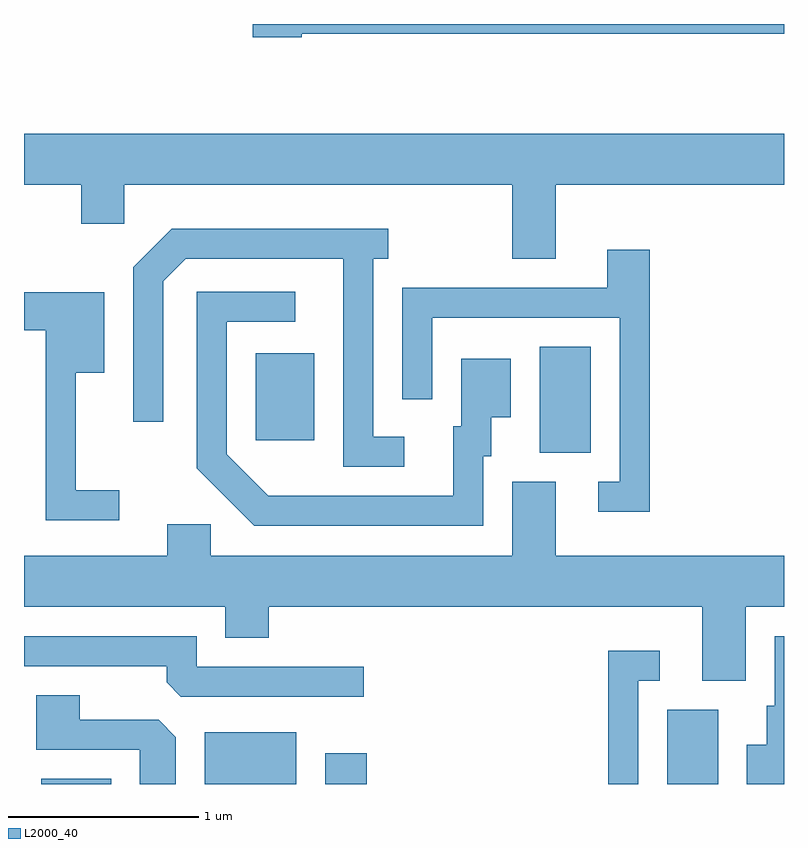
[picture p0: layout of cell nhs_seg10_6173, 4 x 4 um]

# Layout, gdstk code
import gdstk
lib = gdstk.Library(unit=1e-6, precision=1e-09)
def R(c, l, rs):  # rectangles x0, y0, x1, y1
    for r in rs: c.add(gdstk.rectangle(r[:2], r[2:], *l))
def P(c, l, *ps):  # polygons
    for p in ps: c.add(gdstk.Polygon(p, *l))
L2000_40 = (2000, 40)

nhs_seg10_6173 = lib.new_cell('nhs_seg10_6173')
R(nhs_seg10_6173, L2000_40, [(367.701,2128.522,368.069,2128.549), (368.561,2128.522,369.044,2128.794), (369.196,2128.522,369.414,2128.684), (370.996,2128.522,371.264,2128.914), (370.326,2130.266,370.594,2130.824), (368.831,2130.331,369.139,2130.789)])
P(nhs_seg10_6173, L2000_40, [(369.074,2132.471),(371.611,2132.471),(371.611,2132.522),(368.816,2132.522),(368.816,2132.451),(369.074,2132.451)],
  [(367.611,2131.676),(367.911,2131.676),(367.911,2131.471),(368.139,2131.471),(368.139,2131.676),(370.181,2131.676),(370.181,2131.286),(370.409,2131.286),(370.409,2131.676),(371.611,2131.676),(371.611,2131.944),(367.611,2131.944)],
  [(369.613,2130.349),(369.449,2130.349),(369.449,2131.286),(369.528,2131.286),(369.528,2131.444),(368.389,2131.444),(368.186,2131.242),(368.186,2130.428),(368.344,2130.428),(368.344,2131.169),(368.462,2131.286),(369.291,2131.286),(369.291,2130.191),(369.613,2130.191)],
  [(370.904,2131.334),(370.681,2131.334),(370.681,2131.134),(369.601,2131.134),(369.601,2130.548),(369.759,2130.548),(369.759,2130.976),(370.746,2130.976),(370.746,2130.114),(370.633,2130.114),(370.633,2129.956),(370.904,2129.956)],
  [(370.029,2130.246),(370.069,2130.246),(370.069,2130.451),(370.174,2130.451),(370.174,2130.759),(369.911,2130.759),(369.911,2130.404),(369.871,2130.404),(369.871,2130.039),(368.897,2130.039),(368.679,2130.257),(368.679,2130.956),(369.038,2130.956),(369.038,2131.114),(368.521,2131.114),(368.521,2130.184),(368.824,2129.881),(370.029,2129.881)],
  [(368.113,2130.069),(367.884,2130.069),(367.884,2130.686),(368.034,2130.686),(368.034,2131.109),(367.611,2131.109),(367.611,2130.911),(367.726,2130.911),(367.726,2129.911),(368.113,2129.911)],
  [(370.181,2130.114),(370.181,2129.724),(368.594,2129.724),(368.594,2129.889),(368.366,2129.889),(368.366,2129.724),(367.611,2129.724),(367.611,2129.456),(368.671,2129.456),(368.671,2129.291),(368.899,2129.291),(368.899,2129.456),(371.181,2129.456),(371.181,2129.066),(371.409,2129.066),(371.409,2129.456),(371.611,2129.456),(371.611,2129.724),(370.409,2129.724),(370.409,2130.114)],
  [(369.398,2129.139),(368.519,2129.139),(368.519,2129.299),(367.611,2129.299),(367.611,2129.141),(368.361,2129.141),(368.361,2129.057),(368.437,2128.981),(369.398,2128.981)],
  [(371.611,2129.299),(371.561,2129.299),(371.561,2128.934),(371.521,2128.934),(371.521,2128.729),(371.416,2128.729),(371.416,2128.522),(371.611,2128.522)],
  [(370.844,2129.066),(370.958,2129.066),(370.958,2129.224),(370.686,2129.224),(370.686,2128.522),(370.844,2128.522)],
  [(368.409,2128.769),(368.319,2128.859),(367.904,2128.859),(367.904,2128.989),(367.676,2128.989),(367.676,2128.701),(368.221,2128.701),(368.221,2128.522),(368.409,2128.522)])

lib.write_gds('nhs_seg10_6173.gds')
